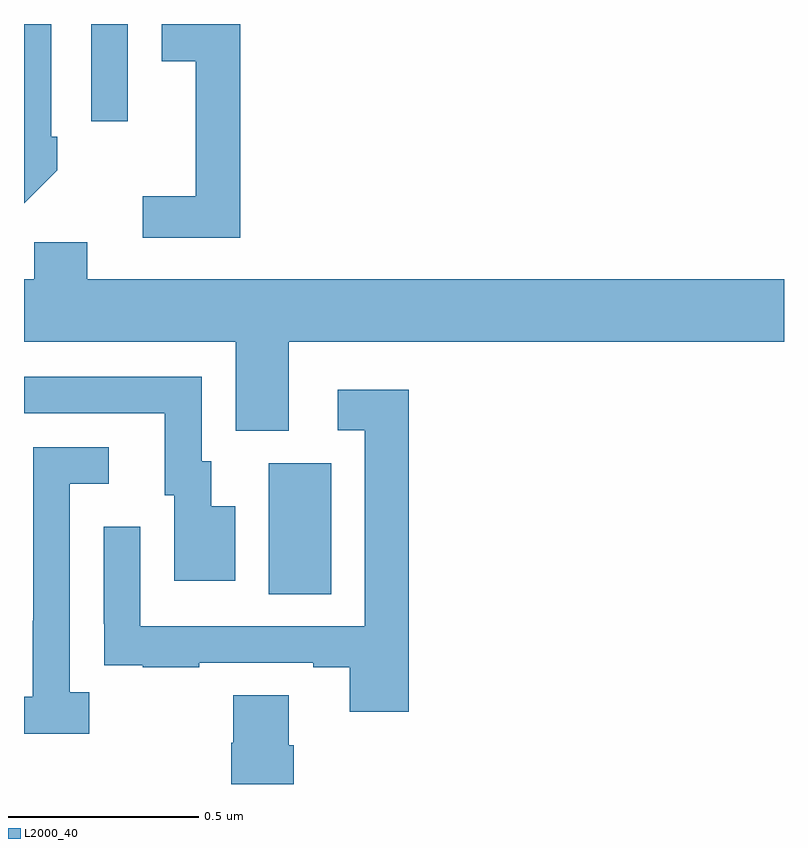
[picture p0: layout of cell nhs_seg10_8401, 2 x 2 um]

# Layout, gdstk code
import gdstk
lib = gdstk.Library(unit=1e-6, precision=1e-09)
def R(c, l, rs):  # rectangles x0, y0, x1, y1
    for r in rs: c.add(gdstk.rectangle(r[:2], r[2:], *l))
def P(c, l, *ps):  # polygons
    for p in ps: c.add(gdstk.Polygon(p, *l))
L2000_40 = (2000, 40)

nhs_seg10_8401 = lib.new_cell('nhs_seg10_8401')
R(nhs_seg10_8401, L2000_40, [(216.644,1285,216.808,1285.344), (216.177,1286.244,216.273,1286.5)])
P(nhs_seg10_8401, L2000_40, [(216.087,1286.115),(216.087,1286.203),(216.072,1286.203),(216.072,1286.5),(216,1286.5),(216,1286.028)],
  [(216.569,1286.5),(216.362,1286.5),(216.362,1286.402),(216.452,1286.402),(216.452,1286.047),(216.312,1286.047),(216.312,1285.938),(216.569,1285.938)],
  [(216.697,1285.664),(218,1285.664),(218,1285.828),(216.166,1285.828),(216.166,1285.926),(216.027,1285.926),(216.027,1285.828),(216,1285.828),(216,1285.664),(216.557,1285.664),(216.557,1285.429),(216.697,1285.429)],
  [(216.556,1285.231),(216.493,1285.231),(216.493,1285.35),(216.468,1285.35),(216.468,1285.572),(216,1285.572),(216,1285.476),(216.371,1285.476),(216.371,1285.26),(216.395,1285.26),(216.395,1285.035),(216.556,1285.035)],
  [(217.013,1285.537),(216.825,1285.537),(216.825,1285.431),(216.897,1285.431),(216.897,1284.915),(216.306,1284.915),(216.306,1285.177),(216.21,1285.177),(216.21,1284.922),(216.211,1284.922),(216.211,1284.813),(216.313,1284.813),(216.313,1284.807),(216.461,1284.807),(216.461,1284.819),(216.761,1284.819),(216.761,1284.807),(216.857,1284.807),(216.857,1284.69),(217.013,1284.69)],
  [(216.172,1284.742),(216.12,1284.742),(216.12,1285.29),(216.223,1285.29),(216.223,1285.386),(216.024,1285.386),(216.024,1284.929),(216.023,1284.929),(216.023,1284.729),(216,1284.729),(216,1284.632),(216.172,1284.632)],
  [(216.71,1284.602),(216.697,1284.602),(216.697,1284.734),(216.55,1284.734),(216.55,1284.609),(216.545,1284.609),(216.545,1284.5),(216.71,1284.5)])

lib.write_gds('nhs_seg10_8401.gds')
